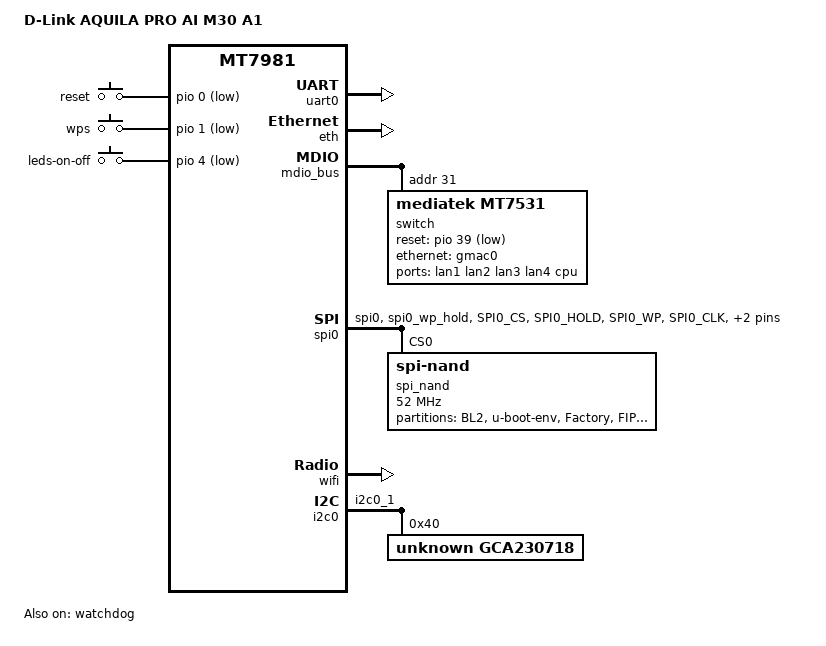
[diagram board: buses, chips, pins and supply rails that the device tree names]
// SPDX-License-Identifier: (GPL-2.0 OR MIT)

/dts-v1/;

#include "mt7981b.dtsi"

/ {
	model = "D-Link AQUILA PRO AI M30 A1";
	compatible = "dlink,aquila-pro-ai-m30-a1", "mediatek,mt7981";

	aliases {
		label-mac-device = &gmac0;
		led-boot = &led_status_white;
		led-failsafe = &led_status_red;
		led-running = &led_status_white;
		led-upgrade = &led_status_blue;
		serial0 = &uart0;
	};

	chosen {
		stdout-path = "serial0:115200n8";
	};

	gpio-keys {
		compatible = "gpio-keys";

		button-reset {
			label = "reset";
			linux,code = <KEY_RESTART>;
			gpios = <&pio 0 GPIO_ACTIVE_LOW>;
		};

		button-wps {
			label = "wps";
			linux,code = <KEY_WPS_BUTTON>;
			gpios = <&pio 1 GPIO_ACTIVE_LOW>;
		};

		button-leds-on-off {
			label = "leds-on-off";
			linux,code = <KEY_LIGHTS_TOGGLE>;
			gpios = <&pio 4 GPIO_ACTIVE_LOW>;
		};
	};
};

&uart0 {
	status = "okay";
};

&watchdog {
	status = "okay";
};

&eth {
	pinctrl-names = "default";
	pinctrl-0 = <&mdio_pins>;

	status = "okay";

	gmac0: mac@0 {
		compatible = "mediatek,eth-mac";
		reg = <0>;
		phy-mode = "2500base-x";

		nvmem-cells = <&macaddr_odm 1>;
		nvmem-cell-names = "mac-address";

		fixed-link {
			speed = <2500>;
			full-duplex;
			pause;
		};
	};

	gmac1: mac@1 {
		compatible = "mediatek,eth-mac";
		reg = <1>;
		phy-mode = "gmii";
		phy-handle = <&int_gbe_phy>;
		label = "internet";

		nvmem-cells = <&macaddr_odm 0>;
		nvmem-cell-names = "mac-address";
	};
};

&mdio_bus {
	switch: switch@1f {
		compatible = "mediatek,mt7531";
		reg = <31>;
		reset-gpios = <&pio 39 GPIO_ACTIVE_LOW>;

		ports {
			#address-cells = <1>;
			#size-cells = <0>;

			port@0 {
				reg = <0>;
				label = "lan1";
			};

			port@1 {
				reg = <1>;
				label = "lan2";
			};

			port@2 {
				reg = <2>;
				label = "lan3";
			};

			port@3 {
				reg = <3>;
				label = "lan4";
			};

			port@6 {
				reg = <6>;
				label = "cpu";
				ethernet = <&gmac0>;
				phy-mode = "2500base-x";

				fixed-link {
					speed = <2500>;
					full-duplex;
					pause;
				};
			};
		};
	};
};

&spi0 {
	pinctrl-names = "default";
	pinctrl-0 = <&spi0_flash_pins>;
	status = "okay";

	spi_nand@0 {
		compatible = "spi-nand";
		#address-cells = <1>;
		#size-cells = <1>;
		reg = <0>;

		spi-max-frequency = <52000000>;
		spi-tx-bus-width = <4>;
		spi-rx-bus-width = <4>;

		mediatek,nmbm;
		mediatek,bmt-max-ratio = <1>;
		mediatek,bmt-max-reserved-blocks = <64>;

		partitions {
			compatible = "fixed-partitions";
			#address-cells = <1>;
			#size-cells = <1>;

			partition@0 {
				label = "BL2";
				reg = <0x00 0x100000>;
				read-only;
			};

			partition@100000 {
				label = "u-boot-env";
				reg = <0x100000 0x80000>;
			};

			partition@180000 {
				label = "Factory";
				reg = <0x180000 0x200000>;
				read-only;

				nvmem-layout {
					compatible = "fixed-layout";
					#address-cells = <1>;
					#size-cells = <1>;

					eeprom_factory_0: eeprom@0 {
						reg = <0x0 0x1000>;
					};
				};
			};

			partition@380000 {
				label = "FIP";
				reg = <0x380000 0x200000>;
				read-only;
			};

			partition@580000 {
				label = "ubi";
				reg = <0x580000 0x3200000>;
			};

			partition@3780000 {
				label = "ubi1";
				reg = <0x3780000 0x3200000>;
				read-only;
			};

			partition@6980000 {
				label = "Odm";
				reg = <0x6980000 0x40000>;
				read-only;

				nvmem-layout {
					compatible = "fixed-layout";
					#address-cells = <1>;
					#size-cells = <1>;

					macaddr_odm: macaddr@81 {
						compatible = "mac-base";
						reg = <0x81 0x6>;
						#nvmem-cell-cells = <1>;
					};
				};

			};

			partition@69c0000 {
				label = "Config1";
				reg = <0x69c0000 0x80000>;
				read-only;
			};

			partition@6a40000 {
				label = "Config2";
				reg = <0x6a40000 0x80000>;
				read-only;
			};

			partition@6ac0000 {
				label = "Storage";
				reg = <0x6ac0000 0xA00000>;
				read-only;
			};
		};
	};
};

&pio {
	spi0_flash_pins: spi0-pins {
		mux {
			function = "spi";
			groups = "spi0", "spi0_wp_hold";
		};

		conf-pu {
			pins = "SPI0_CS", "SPI0_HOLD", "SPI0_WP";
			drive-strength = <MTK_DRIVE_8mA>;
			bias-pull-down = <MTK_PUPD_SET_R1R0_00>;
		};

		conf-pd {
			pins = "SPI0_CLK", "SPI0_MOSI", "SPI0_MISO";
			drive-strength = <MTK_DRIVE_8mA>;
			bias-pull-down = <MTK_PUPD_SET_R1R0_00>;
		};
	};

	i2c_pins_g0: i2c-pins-g0 {
		mux {
			function = "i2c";
			groups = "i2c0_1";
		};
	};
};

&wifi {
	status = "okay";

	nvmem-cells = <&eeprom_factory_0>, <&macaddr_odm 2>;
	nvmem-cell-names = "eeprom", "mac-address";
};

&i2c0 {
	status = "okay";
	pinctrl-names = "default";
	pinctrl-0 = <&i2c_pins_g0>;

	gca230718@40 {
		compatible = "unknown,gca230718";
		#address-cells = <1>;
		#size-cells = <0>;
		reg = <0x40>;

		led_status_red: led@0 {
			color = <LED_COLOR_ID_RED>;
			function = LED_FUNCTION_STATUS;
			reg = <0>;
		};

		led@1 {
			color = <LED_COLOR_ID_GREEN>;
			function = LED_FUNCTION_STATUS;
			reg = <1>;
		};

		led_status_blue: led@2 {
			color = <LED_COLOR_ID_BLUE>;
			function = LED_FUNCTION_STATUS;
			reg = <2>;
		};

		led_status_white: led@3 {
			color = <LED_COLOR_ID_WHITE>;
			function = LED_FUNCTION_STATUS;
			reg = <3>;
		};
	};
};
